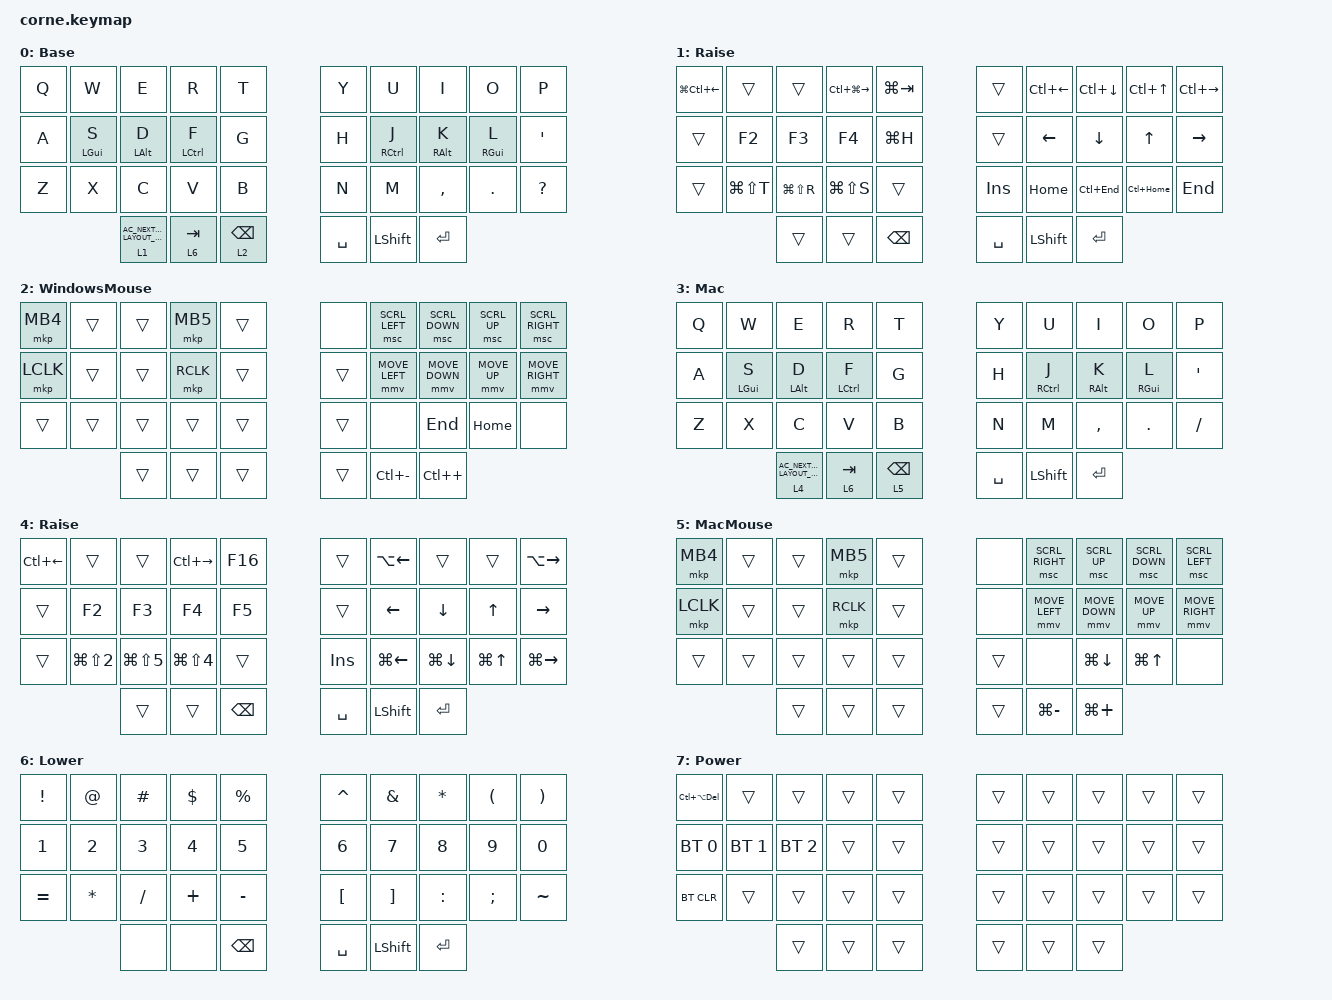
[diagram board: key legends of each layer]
/*
 * Copyright (c) 2020 The ZMK Contributors
 *
 * SPDX-License-Identifier: MIT
 */

#include <behaviors.dtsi>
#include <dt-bindings/zmk/bt.h>
#include <dt-bindings/zmk/keys.h>
#include <dt-bindings/zmk/pointing.h>

/ {
    chosen {
        zmk,matrix-transform = &five_column_transform;
    };

    behaviors {
        HML: HML {
            compatible = "zmk,behavior-hold-tap";
            label = "HML";
            bindings = <&kp>, <&kp>;

            #binding-cells = <2>;
            tapping-term-ms = <200>;
            quick-tap-ms = <120>;
            require-prior-idle-ms = <150>;
            hold-trigger-key-positions = <0 1 2 3 4 5 6 7 8 9 10 11 12 13 14 15 16 17 18 19 20 21 22 23 24 25 26 27 28 29 30 31 32 33 34 35>;
            flavor = "balanced";
        };

        HMR: HMR {
            compatible = "zmk,behavior-hold-tap";
            label = "HMR";
            bindings = <&kp>, <&kp>;

            #binding-cells = <2>;
            tapping-term-ms = <200>;
            quick-tap-ms = <120>;
            flavor = "balanced";
            hold-trigger-key-positions = <0 1 2 3 4 5 6 7 8 9 10 11 12 13 14 15 16 17 18 19 20 21 22 23 24 25 26 27 28 29 30 31 32 33 34 35>;
            require-prior-idle-ms = <150>;
        };
    };

    combos {
        compatible = "zmk,combos";

        Escape {
            bindings = <&kp ESCAPE>;
            key-positions = <0 1>;
            layers = <0 3>;
        };

        Delete {
            bindings = <&kp DELETE>;
            key-positions = <34 32>;
            layers = <0 3>;
        };

        PowerLayer {
            bindings = <&mo 7>;
            key-positions = <8 9>;
            layers = <0 3>;
        };
    };

    macros {
        Mac: Mac {
            compatible = "zmk,behavior-macro";
            #binding-cells = <0>;
            bindings = <&to 3 &bt BT_SEL 0>;
            label = "MAC";
        };

        Windows: Windows {
            compatible = "zmk,behavior-macro";
            #binding-cells = <0>;
            bindings = <&to 0 &bt BT_SEL 1>;
            label = "WINDOWS";
        };

        iOS: iOS {
            compatible = "zmk,behavior-macro";
            #binding-cells = <0>;
            bindings = <&to 3 &bt BT_SEL 2>;
            label = "IOS";
        };
    };

    keymap {
        compatible = "zmk,keymap";

        Windows {
            // -----------------------------------------------------------------------------------------
            // |  Q  |  W  |  E  |  R  |  T  |   |  Y  |  U   |  I  |  O  |  P  |
            // |  A  |  S  |  D  |  F  |  G  |   |  H  |  J   |  K  |  L  |  '  |
            // |  Z  |  X  |  C  |  V  |  B  |   |  N  |  M   |  ,  |  .  |  ?  |
            //             | LYT | TAB | BSPC |  | SPC | SHFT | ENT |

            display-name = "Base";
            bindings = <
&kp Q  &kp W            &kp E                                   &kp R                &kp T              &kp Y      &kp U                 &kp I             &kp O             &kp P
&kp A  &HML LEFT_GUI S  &HML LEFT_ALT D                         &HML LEFT_CONTROL F  &kp G              &kp H      &HMR RIGHT_CONTROL J  &HMR RIGHT_ALT K  &HMR RIGHT_GUI L  &kp APOS
&kp Z  &kp X            &kp C                                   &kp V                &kp B              &kp N      &kp M                 &kp COMMA         &kp DOT           &kp QUESTION
                        &lt 1 C_AC_NEXT_KEYBOARD_LAYOUT_SELECT  &lt 6 TAB            &lt 2 BACKSPACE    &kp SPACE  &kp LEFT_SHIFT        &kp ENTER
            >;
        };

        WindowsNavFunction {
            display-name = "Raise";
            bindings = <
&kp LG(LC(LEFT))  &trans         &trans         &kp LC(LG(RIGHT))  &kp LG(TAB)      &trans     &kp LC(LEFT_ARROW)  &kp LC(DOWN)  &kp LC(UP_ARROW)  &kp LC(RIGHT)
&trans            &kp F2         &kp F3         &kp F4             &kp LG(H)        &trans     &kp LEFT            &kp DOWN      &kp UP_ARROW      &kp RIGHT_ARROW
&trans            &kp LG(LS(T))  &kp LG(LS(R))  &kp LG(LS(S))      &trans           &kp INS    &kp HOME            &kp LC(END)   &kp LC(HOME)      &kp END
                                 &trans         &trans             &kp BACKSPACE    &kp SPACE  &kp LEFT_SHIFT      &kp ENTER
            >;
        };

        WindowsMouse {
            bindings = <
&mkp MB4   &trans  &trans  &mkp MB5   &trans    &none           &msc SCRL_LEFT  &msc SCRL_DOWN  &msc SCRL_UP   &msc SCRL_RIGHT
&mkp LCLK  &trans  &trans  &mkp RCLK  &trans    &trans          &mmv MOVE_LEFT  &mmv MOVE_DOWN  &mmv MOVE_UP   &mmv MOVE_RIGHT
&trans     &trans  &trans  &trans     &trans    &trans          &none           &kp END         &kp HOME       &none
                   &trans  &trans     &trans    &trans          &kp LC(MINUS)   &kp LC(PLUS)
            >;
        };

        MacOSiOS {
            display-name = "Mac";
            bindings = <
&kp Q  &kp W            &kp E                                   &kp R                &kp T              &kp Y      &kp U                 &kp I             &kp O             &kp P
&kp A  &HML LEFT_GUI S  &HML LEFT_ALT D                         &HML LEFT_CONTROL F  &kp G              &kp H      &HMR RIGHT_CONTROL J  &HMR RIGHT_ALT K  &HMR RIGHT_GUI L  &kp SINGLE_QUOTE
&kp Z  &kp X            &kp C                                   &kp V                &kp B              &kp N      &kp M                 &kp COMMA         &kp DOT           &kp SLASH
                        &lt 4 C_AC_NEXT_KEYBOARD_LAYOUT_SELECT  &lt 6 TAB            &lt 5 BACKSPACE    &kp SPACE  &kp LEFT_SHIFT        &kp ENTER
            >;
        };

        MaciOSNavFunction {
            display-name = "Raise";
            bindings = <
&kp LC(LEFT_ARROW)  &trans                &trans          &kp LC(RIGHT)         &kp F16          &trans     &kp LA(LEFT_ARROW)  &trans        &trans            &kp LA(RIGHT)
&trans              &kp F2                &kp F3          &kp F4                &kp F5           &trans     &kp LEFT            &kp DOWN      &kp UP_ARROW      &kp RIGHT_ARROW
&trans              &kp LG(LS(NUMBER_2))  &kp LG(LS(N5))  &kp LG(LS(NUMBER_4))  &trans           &kp INS    &kp LG(LEFT)        &kp LG(DOWN)  &kp LG(UP_ARROW)  &kp LG(RIGHT)
                                          &trans          &trans                &kp BACKSPACE    &kp SPACE  &kp LEFT_SHIFT      &kp ENTER
            >;
        };

        MacMouse {
            bindings = <
&mkp MB4   &trans  &trans  &mkp MB5   &trans    &none            &msc SCRL_RIGHT  &msc SCRL_UP     &msc SCRL_DOWN   &msc SCRL_LEFT
&mkp LCLK  &trans  &trans  &mkp RCLK  &trans    &none            &mmv MOVE_LEFT  &mmv MOVE_DOWN    &mmv MOVE_UP     &mmv MOVE_RIGHT
&trans     &trans  &trans  &trans     &trans    &trans           &none           &kp LG(DOWN)      &kp LG(UP_ARROW) &none
                   &trans  &trans     &trans    &trans           &kp LG(MINUS)   &kp LG(PLUS)
            >;
        };

        SymbolsNumbers {
            display-name = "Lower";
            bindings = <
&kp EXCL      &kp AT        &kp HASH      &kp DOLLAR    &kp PERCENT      &kp CARET         &kp AMPERSAND      &kp ASTRK  &kp LEFT_PARENTHESIS  &kp RIGHT_PARENTHESIS
&kp NUMBER_1  &kp NUMBER_2  &kp NUMBER_3  &kp NUMBER_4  &kp NUMBER_5     &kp NUMBER_6      &kp NUMBER_7       &kp N8     &kp N9                &kp N0
&kp EQUAL     &kp ASTRK     &kp SLASH     &kp PLUS      &kp MINUS        &kp LEFT_BRACKET  &kp RIGHT_BRACKET  &kp COLON  &kp SEMI              &kp TILDE
                            &none         &none         &kp BACKSPACE    &kp SPACE         &kp LEFT_SHIFT     &kp ENTER
            >;
        };

        Power {
            bindings = <
&kp LC(LA(DEL))  &trans        &trans        &trans  &trans    &trans  &trans  &trans  &trans  &trans
&bt BT_SEL 0     &bt BT_SEL 1  &bt BT_SEL 2  &trans  &trans    &trans  &trans  &trans  &trans  &trans
&bt BT_CLR       &trans        &trans        &trans  &trans    &trans  &trans  &trans  &trans  &trans
                               &trans        &trans  &trans    &trans  &trans  &trans
            >;
        };
    };
};
